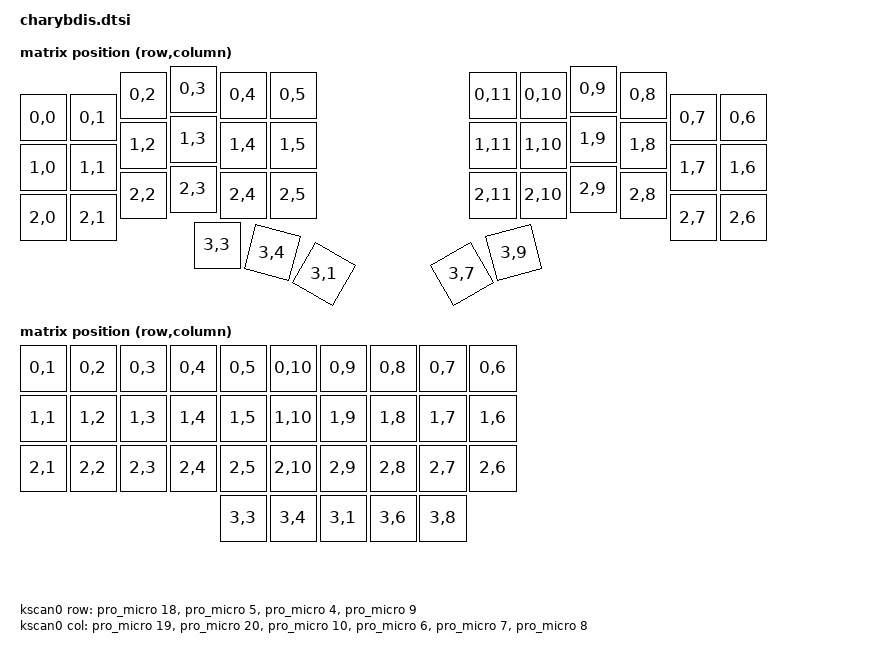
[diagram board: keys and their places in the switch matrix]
#include <dt-bindings/zmk/matrix_transform.h>
#include <physical_layouts.dtsi>

/ {
    chosen {
        zmk,physical-layout = &matrix_physical_layout;
    };

    default_transform: keymap_transform_0 {
        compatible = "zmk,matrix-transform";
        columns = <12>;
        rows = <4>;

        map = <
	RC(0,0) RC(0,1) RC(0,2) RC(0,3) RC(0,4) RC(0,5)  RC(0,11) RC(0,10) RC(0,9) RC(0,8) RC(0,7) RC(0,6)
	RC(1,0) RC(1,1) RC(1,2) RC(1,3) RC(1,4) RC(1,5)  RC(1,11) RC(1,10) RC(1,9) RC(1,8) RC(1,7) RC(1,6)
	RC(2,0) RC(2,1) RC(2,2) RC(2,3) RC(2,4) RC(2,5)  RC(2,11) RC(2,10) RC(2,9) RC(2,8) RC(2,7) RC(2,6)
													RC(3,3) RC(3,4) RC(3,1)  RC(3,7)  RC(3,9)
        >;
    };

    five_column_transform: keymap_transform_1 {
        compatible = "zmk,matrix-transform";
        columns = <10>;
        rows = <4>;

        map = <
	RC(0,1) RC(0,2) RC(0,3) RC(0,4) RC(0,5)  RC(0,10) RC(0,9) RC(0,8) RC(0,7) RC(0,6)
	RC(1,1) RC(1,2) RC(1,3) RC(1,4) RC(1,5)  RC(1,10) RC(1,9) RC(1,8) RC(1,7) RC(1,6)
	RC(2,1) RC(2,2) RC(2,3) RC(2,4) RC(2,5)  RC(2,10) RC(2,9) RC(2,8) RC(2,7) RC(2,6)
									RC(3,3) RC(3,4) RC(3,1)  RC(3,6)  RC(3,8)
        >;
    };
	
    kscan0: kscan {
        compatible = "zmk,kscan-gpio-matrix";

        diode-direction = "row2col";
		row-gpios
			= <&pro_micro 18 GPIO_ACTIVE_HIGH>
			, <&pro_micro 5 GPIO_ACTIVE_HIGH>
			, <&pro_micro 4 GPIO_ACTIVE_HIGH>
			, <&pro_micro 9 GPIO_ACTIVE_HIGH>
            ;
	col-gpios
		= <&pro_micro 19 (GPIO_ACTIVE_HIGH | GPIO_PULL_DOWN)>
		, <&pro_micro 20 (GPIO_ACTIVE_HIGH | GPIO_PULL_DOWN)>
		, <&pro_micro 10 (GPIO_ACTIVE_HIGH | GPIO_PULL_DOWN)>
		, <&pro_micro 6 (GPIO_ACTIVE_HIGH | GPIO_PULL_DOWN)>
		, <&pro_micro 7 (GPIO_ACTIVE_HIGH | GPIO_PULL_DOWN)>
		, <&pro_micro 8 (GPIO_ACTIVE_HIGH | GPIO_PULL_DOWN)>
		;
    };
    matrix_physical_layout:matrix_physical_layout {
    	compatible = "zmk,physical-layout";
    	display-name = "matrix layout";
    	kscan = <&kscan0>;
    	transform = <&default_transform>;
keys  //                     w   h    x    y     rot    rx    ry
            = <&key_physical_attrs 100 100    0   57       0     0     0>
            , <&key_physical_attrs 100 100  100   57       0     0     0>
            , <&key_physical_attrs 100 100  200   12       0     0     0>
            , <&key_physical_attrs 100 100  300    0       0     0     0>
            , <&key_physical_attrs 100 100  400   12       0     0     0>
            , <&key_physical_attrs 100 100  500   12       0     0     0>
            , <&key_physical_attrs 100 100  900   12       0     0     0>
            , <&key_physical_attrs 100 100 1000   12       0     0     0>
            , <&key_physical_attrs 100 100 1100    0       0     0     0>
            , <&key_physical_attrs 100 100 1200   12       0     0     0>
            , <&key_physical_attrs 100 100 1300   57       0     0     0>
            , <&key_physical_attrs 100 100 1400   57       0     0     0>
            , <&key_physical_attrs 100 100    0  157       0     0     0>
            , <&key_physical_attrs 100 100  100  157       0     0     0>
            , <&key_physical_attrs 100 100  200  112       0     0     0>
            , <&key_physical_attrs 100 100  300  100       0     0     0>
            , <&key_physical_attrs 100 100  400  112       0     0     0>
            , <&key_physical_attrs 100 100  500  112       0     0     0>
            , <&key_physical_attrs 100 100  900  112       0     0     0>
            , <&key_physical_attrs 100 100 1000  112       0     0     0>
            , <&key_physical_attrs 100 100 1100  100       0     0     0>
            , <&key_physical_attrs 100 100 1200  112       0     0     0>
            , <&key_physical_attrs 100 100 1300  157       0     0     0>
            , <&key_physical_attrs 100 100 1400  157       0     0     0>
            , <&key_physical_attrs 100 100    0  257       0     0     0>
            , <&key_physical_attrs 100 100  100  257       0     0     0>
            , <&key_physical_attrs 100 100  200  212       0     0     0>
            , <&key_physical_attrs 100 100  300  200       0     0     0>
            , <&key_physical_attrs 100 100  400  212       0     0     0>
            , <&key_physical_attrs 100 100  500  212       0     0     0>
            , <&key_physical_attrs 100 100  900  212       0     0     0>
            , <&key_physical_attrs 100 100 1000  212       0     0     0>
            , <&key_physical_attrs 100 100 1100  200       0     0     0>
            , <&key_physical_attrs 100 100 1200  212       0     0     0>
            , <&key_physical_attrs 100 100 1300  257       0     0     0>
            , <&key_physical_attrs 100 100 1400  257       0     0     0>
            , <&key_physical_attrs 100 100  348  312       0     0     0>
            , <&key_physical_attrs 100 100  348  312    1500   398   789>
            , <&key_physical_attrs 100 100  348  312    3000   398   789>
            , <&key_physical_attrs 100 100 1052  312 (-3000)  1102   789>
            , <&key_physical_attrs 100 100 1052  312 (-1500)  1102   789>
            ;
		};
};

/ {
    split_inputs {
        #address-cells = <1>;
        #size-cells = <0>;

        pmw_split: pmw_split@0 {
            compatible = "zmk,input-split";
            reg = <0>;
        };
    };

    pmw_listener: pmw_listener {
        compatible = "zmk,input-listener";
        status = "disabled";
        device = <&pmw_split>;
    };
};
